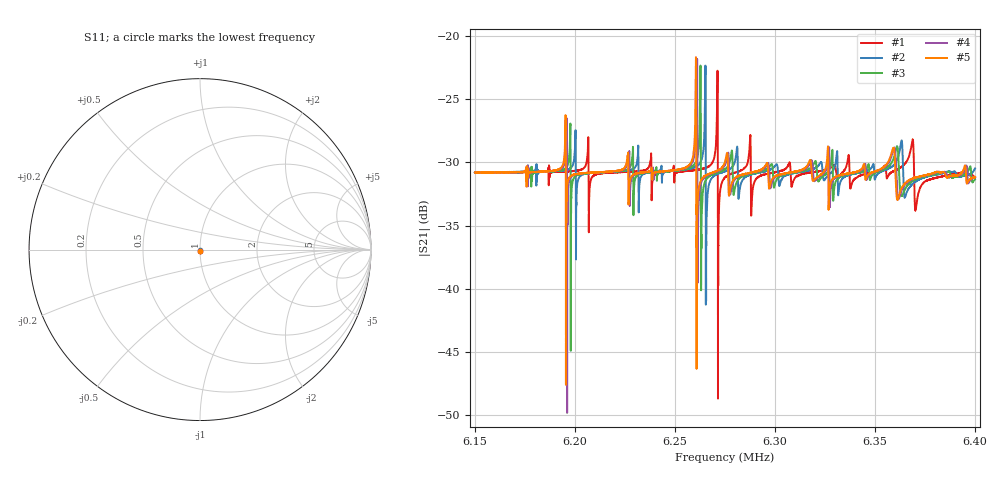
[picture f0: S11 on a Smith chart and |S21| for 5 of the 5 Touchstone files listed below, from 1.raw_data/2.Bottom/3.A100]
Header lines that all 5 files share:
!CETC41,AV3656A,ZGL00048,1.3.2
!Calibration ON (Full Solt 2-Port(Omit Isolation))
!Measurements: S11 S21 S12 S22
# Hz  S  dB  R 50.000
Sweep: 6.15 MHz to 6.4 MHz
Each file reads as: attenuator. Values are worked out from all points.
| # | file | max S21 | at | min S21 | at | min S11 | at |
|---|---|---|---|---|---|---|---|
| 1 | A100_20C.s2p | -22.74 dB | 6.2713 MHz | -48.7 dB | 6.2715 MHz | -45.1 dB | 6.3011 MHz |
| 2 | A100_45C.s2p | -22.34 dB | 6.2652 MHz | -41.2 dB | 6.2654 MHz | -46.6 dB | 6.2642 MHz |
| 3 | A100_55C.s2p | -22.34 dB | 6.2627 MHz | -44.9 dB | 6.1979 MHz | -45.7 dB | 6.2174 MHz |
| 4 | A100_60C.s2p | -21.82 dB | 6.2611 MHz | -49.8 dB | 6.1961 MHz | -45.6 dB | 6.2162 MHz |
| 5 | A100_65C.s2p | -21.68 dB | 6.2605 MHz | -47.6 dB | 6.1955 MHz | -45.2 dB | 6.2289 MHz |
